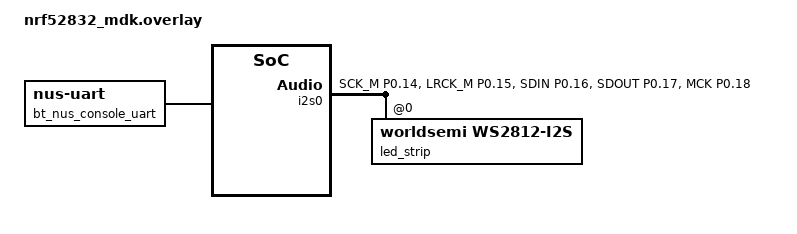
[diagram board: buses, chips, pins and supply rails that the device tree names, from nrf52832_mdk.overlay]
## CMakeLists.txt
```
cmake_minimum_required(VERSION 3.20.0)

find_package(Zephyr REQUIRED HINTS $ENV{ZEPHYR_BASE})
project(zboard)

target_sources(app PRIVATE
        src/zboard.c
        src/led_map.c
        src/led_patterns.c
)
```

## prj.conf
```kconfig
CONFIG_BT=y
CONFIG_BT_MAX_CONN=4
CONFIG_BT_MAX_PAIRED=4
CONFIG_BT_PERIPHERAL=y
CONFIG_BT_ZEPHYR_NUS=y
CONFIG_BT_ZEPHYR_NUS_DEFAULT_INSTANCE=n

# Bluetooth optimizations to allow larger data packets.
CONFIG_BT_RX_STACK_SIZE=2048
CONFIG_BT_L2CAP_TX_MTU=512
CONFIG_BT_BUF_ACL_RX_SIZE=502
CONFIG_BT_BUF_ACL_TX_SIZE=502
CONFIG_BT_CTLR_DATA_LENGTH_MAX=251

CONFIG_BT_DEVICE_NAME="zboard"

CONFIG_UART_BT=y
CONFIG_UART_CONSOLE=y

CONFIG_LED_STRIP=y
CONFIG_LOG=y
CONFIG_LOG_BACKEND_SHOW_COLOR=n
```

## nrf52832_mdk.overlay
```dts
#include <zephyr/dt-bindings/led/led.h>

&i2s0 {
	status = "okay";
	pinctrl-0 = <&i2s0_default>;
	pinctrl-1 = <&i2s0_sleep>;
	pinctrl-names = "default", "sleep";

	led_strip: ws2812-i2s@0 {
		compatible = "worldsemi,ws2812-i2s";
		reg = <0x0>;
		chain-length = <256>;
		status = "okay";
		color-mapping = <LED_COLOR_ID_GREEN
		LED_COLOR_ID_RED
		LED_COLOR_ID_BLUE>;
		reset-delay = <120>;
	};
};

&pinctrl {
	i2s0_default: i2s0_default {
		group1 {
			psels = <NRF_PSEL(I2S_SCK_M, 0, 14)>,
			<NRF_PSEL(I2S_LRCK_M, 0, 15)>,
			<NRF_PSEL(I2S_SDIN, 0, 16)>,
			<NRF_PSEL(I2S_SDOUT, 0, 17)>,
			<NRF_PSEL(I2S_MCK, 0, 18)>;
		};
	};

	i2s0_sleep: i2s0_sleep {
		group1 {
			psels = <NRF_PSEL(I2S_SCK_M, 0, 14)>;
		};
	};
};

/ {
	aliases {
		led-strip = &led_strip;
		zboard-input = &bt_nus_console_uart;
	};
};

/ {
	chosen {
		zephyr,console = &bt_nus_console_uart;
		zephyr,shell-uart = &bt_nus_console_uart;
	};

	bt_nus_console_uart: bt_nus_console_uart {
		compatible = "zephyr,nus-uart";
		rx-fifo-size = <1024>;
		tx-fifo-size = <1024>;
	};
};
```

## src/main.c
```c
#include <stdlib.h>

#include "zboard.h"

#include "led_map.h"
#include "led_patterns.h"

#include <zephyr/bluetooth/bluetooth.h>
#include <zephyr/bluetooth/hci.h>
#include <zephyr/bluetooth/services/nus.h>
#include <zephyr/drivers/uart.h>

#define LOG_LEVEL LOG_LEVEL_INF
LOG_MODULE_REGISTER(main);

#define UART_NODE DT_ALIAS(zboard_input)
#define STRIP_NODE DT_ALIAS(led_strip)

// Problem string structure:
// V1:
//	<holdtype>=[SPE]
//  <holdnum>=[0-9]{1,3}
//  <holdspec>=<holdtype><holdnum>
//  <problem>=~l#<holdspec>(,<holdspec>)*#
// V2:
//	<holdtype>=[SPELRMF]
//  <holdnum>=[0-9]{1,3}
//  <holdspec>=<holdtype><holdnum>
//  <problem>=~[Dl]#<holdspec>(,<holdspec>)*#
// Testing modes:
// t<holdnum>,<holdnum>,<holdnum>#  (applies LED mapping)
// a<holdnum>,<holdnum>,<holdnum>#  (applies LED mapping and lights additional LEDs)
// x<holdnum>,<holdnum>,<holdnum>#  (doesn't apply LED mapping)
// t# or x# 	- clear board
// r			- show random LED pattern from led_patterns.h

struct led_rgb pixels[STRIP_LENGTH];

const struct device *const strip = DEVICE_DT_GET(STRIP_NODE);
static const struct device *const uart_in = DEVICE_DT_GET(UART_NODE);

#define DEVICE_NAME CONFIG_BT_DEVICE_NAME
#define DEVICE_NAME_LEN (sizeof(DEVICE_NAME) - 1)

static const struct bt_data ad[] = {
	BT_DATA_BYTES(BT_DATA_FLAGS, (BT_LE_AD_GENERAL | BT_LE_AD_NO_BREDR)),
	BT_DATA(BT_DATA_NAME_COMPLETE, DEVICE_NAME, DEVICE_NAME_LEN),
};

static const struct bt_data sd[] = {
	BT_DATA_BYTES(BT_DATA_UUID128_ALL, BT_UUID_NUS_SRV_VAL),
};

parse_state_t parse_state = PARSE_START;		  // Current state of the problem string parser
char parseBuffer[PROBLEM_STRING_MAX_LENGTH] = ""; // Problem currently being received
int parseBufferPos = 0;
char strProblem[PROBLEM_STRING_MAX_LENGTH] = "";	   // Complete problem string
char strProblemBackup[PROBLEM_STRING_MAX_LENGTH] = ""; // Copy of complete problem string
bool bProbPending = false;							   // Do we have a problem ready to display?
bool bAdditionalLEDs = false;						   // Additional LED setting
bool bTestMode = false;
bool bApplyLEDMapping = true;

void handleChar(char);

void clearStrip(bool updateStrip)
{
	for (int i = 0; i < STRIP_LENGTH; i++)
	{
		pixels[i] = COLOR_BLACK.rgb;
	}
	if (!updateStrip)
	{
		return;
	}
	led_strip_update_rgb(strip, pixels, STRIP_LENGTH);
}

void handleChar(char c)
{
	LOG_DBG("%s(%c) - state %d", __func__, c, parse_state);
	switch (parse_state)
	{
	case PARSE_START:
		bAdditionalLEDs = false;
		parseBuffer[0] = '\0';
		parseBufferPos = 0;
		switch (c)
		{
		case '~':
			bApplyLEDMapping = true;
			bTestMode = false;
			parse_state = PARSE_CONFIG;
			return;
		case 'L':
		case 'l':
			bApplyLEDMapping = true;
			bTestMode = false;
			parse_state = PARSE_PROB_START;
			return;
		case 't':
		case 'T':
			bApplyLEDMapping = true;
			bTestMode = true;
			parse_state = PARSE_HOLDS;
			return;
		case 'x':
		case 'X':
			bTestMode = true;
			bApplyLEDMapping = false;
			parse_state = PARSE_HOLDS;
			return;
		case 'a':
		case 'A':
			bTestMode = true;
			bApplyLEDMapping = true;
			bAdditionalLEDs = true;
			parse_state = PARSE_HOLDS;
			return;
		case 'r':
		case 'R':
			show_random_pattern();
			return;
		}
		break;
	case PARSE_CONFIG:
		switch (c)
		{
		case 'D':
			bAdditionalLEDs = true;
			parse_state = PARSE_PROB_START;
			return;

		case 'l':
			parse_state = PARSE_PROB_START;
			return;
		}
		break;

	case PARSE_PROB_START:
		if (c == '#')
		{
			parse_state = PARSE_HOLDS;
			return;
		}
		break;

	case PARSE_HOLDS:
		if (c == '#')
		{
			LOG_DBG("Received complete problem");
			parseBuffer[parseBufferPos] = '\0';
			strncpy(strProblem, parseBuffer, sizeof(strProblem));
			bProbPending = true;
			parse_state = PARSE_START;
			return;
		}
		parseBuffer[parseBufferPos++] = c;
		if (parseBufferPos >= sizeof(parseBuffer) - 1)
		{
			LOG_ERR("Problem string overflow");
			parse_state = PARSE_START;
		}
		return;
		break;
	}
}

static void bt_handle_connected(struct bt_conn *conn, uint8_t err)
{
	if (err)
	{
		LOG_ERR("Conn failed, err 0x%02x %s\n", err, bt_hci_err_to_str(err));
	}
	// Restart advertising so that multiple clients can connect
	int rc = bt_le_adv_start(BT_LE_ADV_CONN_FAST_1, ad, ARRAY_SIZE(ad), sd, ARRAY_SIZE(sd));
	if (!err)
	{
		if (rc == -ECONNREFUSED)
		{
			LOG_INF("Conn received, max conns established. Advertising paused.");
		}
		else if (rc)
		{
			LOG_ERR("Conn received. Failed to restart advertising: %d", rc);
		}
		else
		{
			LOG_INF("Connection received. Restarted advertising");
		}
	}
}

static void bt_handle_disconnected(struct bt_conn *conn, uint8_t reason)
{
	LOG_INF("Disconnected, reason 0x%02x %s\n", reason, bt_hci_err_to_str(reason));
}

// A client has dropped and we have a free connection object again, so we can start advertising if we weren't already
static void bt_handle_recycled(void)
{
	int rc = bt_le_adv_start(BT_LE_ADV_CONN_FAST_1, ad, ARRAY_SIZE(ad), sd, ARRAY_SIZE(sd));
	if (rc)
	{
		LOG_ERR("Conn recycled. Failed to restart advertising: %d", rc);
	}
	else
	{
		LOG_INF("Conn recycled. Restarted advertising");
	}
}

static struct bt_conn_cb bt_conn_cb_zboard = {
	.connected = bt_handle_connected,
	.disconnected = bt_handle_disconnected,
	.recycled = bt_handle_recycled};

void renderProblem()
{
	clearStrip(true);
	LOG_INF("Problem string: %s", strProblem);

	strncpy(strProblemBackup, strProblem, sizeof(strProblemBackup) - 1); // store copy of problem string
	strProblemBackup[sizeof(strProblemBackup) - 1] = '\0';

	char *token = strtok(strProblem, ",");
	int ledCount = 0;
	uint16_t ledNum;
	while (token)
	{
		ledCount++;
		char holdType = bTestMode ? 'P' : token[0];			 // Hold descriptions consist of a hold type (S, P, E) (omitted in test mode)...
		int moonNum = atoi(bTestMode ? token : (token + 1)); // ... and a hold number
		uint16_t mapNum = moonNumToMapNum(moonNum);
		ledNum = bApplyLEDMapping ? led_map[mapNum] : moonNum;
		const color_t *led_color = &COLOR_BLACK;
		switch (holdType)
		{
		case 'S':
		case 's':
			led_color = &COLOR_GREEN;
			break;
		case 'R':
		case 'r':
		case 'P':
		case 'p':
			led_color = &COLOR_BLUE;
			break;
		case 'E':
		case 'e':
			led_color = &COLOR_RED;
			break;
		case 'L':
		case 'l':
			led_color = &COLOR_VIOLET;
			break;
		case 'M':
		case 'm':
			led_color = &COLOR_PINK;
			break;
		case 'F':
		case 'f':
			led_color = &COLOR_CYAN;
			break;
		}
		pixels[ledNum] = led_color->rgb;
		LOG_INF("%c%d --> %d (%s)", holdType, moonNum, ledNum, led_color->name);

		if (bAdditionalLEDs)
		{
			if (mapNum % NUM_ROWS != NUM_ROWS - 1) // Not in the top row
			{
				// If we're not using the LED mapping, just get the next LED
				uint16_t ledAboveNum = bApplyLEDMapping ? led_map[mapNum + 1] : ledNum + 1;
				pixels[ledAboveNum] = COLOR_YELLOW.rgb;
				LOG_INF("add. %d", ledAboveNum);
			}
			else
			{
				LOG_DBG("LED %d is in the top row, skipping additional LED", ledNum);
			}
		}
		token = strtok(NULL, ",");
	}
	int err = led_strip_update_rgb(strip, pixels, STRIP_LENGTH);
	if (err)
	{
		LOG_ERR("Failed to update LED strip: %d", err);
	}
	else
	{
		LOG_INF("Rendered problem with %d LEDs", ledCount);
	}
}

void input_cb(const struct device *dev, void *user_data)
{
	uint8_t c;

	if (!uart_irq_update(uart_in))
	{
		return;
	}

	if (!uart_irq_rx_ready(uart_in))
	{
		return;
	}

	/* read until FIFO empty */
	while (uart_fifo_read(uart_in, &c, 1) == 1)
	{
		handleChar(c);
	}
}

int main(void)
{
	initialize_led_map();

	if (device_is_ready(strip))
	{
		LOG_INF("Found LED strip device %s", strip->name);
	}
	else
	{
		LOG_ERR("LED strip device %s is not ready", strip->name);
		return 0;
	}

	int err;

	if (!device_is_ready(uart_in))
	{
		LOG_ERR("UART device not found!");
		return 0;
	}

	// configure interrupt and callback to receive data
	err = uart_irq_callback_set(uart_in, input_cb);

	if (err < 0)
	{
		if (err == -ENOTSUP)
		{
			LOG_ERR("Interrupt-driven UART API support not enabled\n");
		}
		else if (err == -ENOSYS)
		{
			LOG_ERR("UART device does not support interrupt-driven API\n");
		}
		else
		{
			LOG_ERR("Error setting UART callback: %d\n", err);
		}
		return 0;
	}
	uart_irq_rx_enable(uart_in);

	// Enable Bluetooth and start advertising
	err = bt_enable(NULL);
	if (err)
	{
		LOG_ERR("Failed to enable bluetooth: %d", err);
		return err;
	}

	err = bt_conn_cb_register(&bt_conn_cb_zboard);
	if (err)
	{
		LOG_ERR("Failed to register BT conn callback: %d", err);
		return err;
	}

	err = bt_le_adv_start(BT_LE_ADV_CONN_FAST_1, ad, ARRAY_SIZE(ad), sd, ARRAY_SIZE(sd));
	if (err)
	{
		LOG_ERR("Failed to start advertising: %d", err);
		return err;
	}

	LOG_INF("Bluetooth setup complete, advertising as '%s'", DEVICE_NAME);

	led_startup_pattern();
	clearStrip(true);

	char c;
	while (1)
	{
		// Since receiving characters is handled by interrupts ( see input_cb() ), our main loop
		// just checks if we have a problem ready to display and renders it.
		// We do want to parse all characters in the UART receive queue first though.
		if (bProbPending)
		{
			err = uart_poll_in(uart_in, &c);
			if (err == -1)
			{
				renderProblem();
				bProbPending = false;
				strProblem[0] = '\0';
			}
			else if (err == 0)
			{
				handleChar(c);
			}
			else
			{
				LOG_ERR("Error polling UART: %d", err);
			}
		}

		k_sleep(K_MSEC(100));
	}

	return 0;
}
```

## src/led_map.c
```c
#include "led_map.h"

#define LOG_LEVEL LOG_LEVEL_INF
LOG_MODULE_REGISTER(led_map);

uint16_t led_map[NUM_PIXELS];

#ifdef WIRING_LEDS_SKIP_FIRST_COLUMN
uint8_t ledSkipList[] = {WIRING_LEDS_SKIP_FIRST_COLUMN};
#else
uint8_t ledSkipList[] = {};
#endif

uint8_t ledSkipNum = sizeof(ledSkipList) / sizeof(ledSkipList[0]);

#ifdef WIRING_FIRST_LED_RIGHT
bool bWiringFirstLEDRight = true;
#else
bool bWiringFirstLEDRight = false;
#endif

#ifdef WIRING_FIRST_LED_BOTTOM
bool bWiringFirstLEDBottom = true;
#else
bool bWiringFirstLEDBottom = false;
#endif

bool ledSkip(uint16_t ledNum)
{
	if (sizeof(ledSkipList) == 0)
	{
		return false;
	}
	for (size_t i = 0; i < ledSkipNum; i++)
	{
		if (ledNum == ledSkipList[i])
		{
			return true;
		}
	}
	return false;
}

uint16_t moonNumToMapNum(uint16_t moonNum)
{
	int iFullCols = moonNum / NUM_ROWS;
	int iLEDsRemaining = moonNum % NUM_ROWS;
	// We get passed the number of the LED in the standard wiring, which has LED #0 at the bottom-left
	// Our LED map has the columns in sequence, with every column numbered from bottom to top
	// If the LED is in an even column (0-indexed), the numbers will be the same.
	// If the LED is in an odd column (0-indexed), the numbers will be reversed since the wiring goes down the next column
	if (iFullCols % 2 == 0)
	{
		return moonNum;
	}
	else
	{
		return (iFullCols * NUM_ROWS) + (NUM_ROWS - 1 - iLEDsRemaining);
	}
}

#ifndef WIRING_CUSTOM
void initialize_led_map()
{
	bool bWiringGoesDownThisCol = !bWiringFirstLEDBottom;
	uint8_t ledsInCol = NUM_ROWS + ledSkipNum; // number of LEDs in each column including skipped LEDs

	uint16_t ledNum = 0;
	int col = bWiringFirstLEDRight ? (NUM_COLS - 1) : 0;   // current column we are filling in the LED map
	int row = bWiringGoesDownThisCol ? (NUM_ROWS - 1) : 0; // current row we are filling in the LED map
	while (col < NUM_COLS && col >= 0)
	{
		while (row < NUM_ROWS && row >= 0)
		{
			// Figure out where to save this LED number in the map
			led_map[col * NUM_ROWS + row] = ledNum;
			row += bWiringGoesDownThisCol ? -1 : 1;
			// Move to the next LED in the chain, skipping any LEDs that need to be skipped
			ledNum++;
			uint8_t ledNumInChunk = ledNum % (2 * ledsInCol);
			// The first clause is for columns 1,3,5, etc. , second clause is for columns 2,4,6, etc. since the wiring goes down one column and up the next
			while ((ledNumInChunk < ledsInCol && ledSkip(ledNumInChunk)) || (ledNumInChunk > ledsInCol && ledSkip(2 * ledsInCol - 1 - ledNumInChunk)))
			{
				ledNum++;
				ledNumInChunk = ledNum % (2 * ledsInCol);
			}
		}
		col += bWiringFirstLEDRight ? -1 : 1;
		if (row == NUM_ROWS)
		{
			row = NUM_ROWS - 1;
		}
		else if (row == -1)
		{
			row = 0;
		}
		bWiringGoesDownThisCol = !bWiringGoesDownThisCol;
	}
}
#else
void initialize_led_map()
{
	// If you want to define your own wiring configuration, you can do that here
	// The led_map[x*numRows + y] array needs to contain the LED number that should be used for the
	// hold at row x, column y. Rows are number L-to-R and columns are numbered from the bottom up.
}
#endif
```

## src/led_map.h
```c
#ifndef _LED_MAP_H
#define _LED_MAP_H

#include <zephyr/logging/log.h>

// Wiring must be zig-zag fashion up and down the columns.
// By default, we have the first LED at the top of the first column, and the columns go left to right
// Uncommenting the following defines can modify this
#define WIRING_FIRST_LED_RIGHT // Columns goes right to left instead
// #define WIRING_FIRST_LED_BOTTOM			// First LED is at the bottom of the first column instead of the top

// If some LEDs need to be skipped because there is a beam or other obstruction that you need to go around/over,
// you can control that here. You need to specify the LED numbers that will be skipped in the first column and the code
// will assume the other columns are identical.
// For example, if you have a beam between the 6th and 7th row, and another between the 12th and 13th row, and you need
// to skip 2 LEDs for each beam, you'd specify 6,7,14,15 so that LEDs 0-5, 8-13, 16-21 are used for the first column
// #define WIRING_LEDS_SKIP_FIRST_COLUMN 6,7,14,15

// If you want to define your own wiring configuration, you need to unccmment the following line and implement initialize_led_map()
// in led_map.c
// #define WIRING_CUSTOM

#include <stdbool.h>
#include <stddef.h>
#include <stdint.h>

#define NUM_ROWS 18
#define NUM_COLS 11
#define NUM_PIXELS NUM_ROWS *NUM_COLS

#define LED_MAP_COL_ROW(col, row) (led_map[(col) * NUM_ROWS + (row)])

extern uint16_t led_map[NUM_PIXELS];

bool ledSkip(uint16_t);
void initialize_led_map();
uint16_t moonNumToMapNum(uint16_t moonNum);

#endif // _LED_MAP_H
```

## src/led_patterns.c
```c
#include "led_patterns.h"

#define LOG_LEVEL LOG_LEVEL_INF
LOG_MODULE_REGISTER(led_patterns);

led_pattern_fn_t led_patterns[] = {
    left_to_right_pattern,
    right_to_left_pattern,
    top_to_bottom_pattern,
    bottom_to_top_pattern,
    twinkle_pattern,
};

#define NUM_LED_PATTERNS (sizeof(led_patterns) / sizeof(led_patterns[0]))

void led_startup_pattern(void)
{
    for (int c = 0; c < 40; c++) // flash all LEDs in sequence to show we're alive and have Bluetooth working
    {
        for (int r = 0; r < NUM_ROWS; r++)
        {
            LED_SET_ROW(r, color_list[(r + c) % 8]);
        }
        int err = led_strip_update_rgb(strip, pixels, STRIP_LENGTH);
        if (err)
        {
            LOG_ERR("Failed to update LED strip: %d", err);
            return;
        }
        k_sleep(K_MSEC(PATTERN_STEP_DELAY_MS));
    }
}

void left_to_right_pattern(void)
{
    for (int c = 0; c < NUM_COLS; c++)
    {
        clearStrip(false);
        for (int r = 0; r < NUM_ROWS; r++)
        {
            LED_SET_PIXEL(c, r, color_list[r % NUM_COLORS]);
        }
        int err = led_strip_update_rgb(strip, pixels, STRIP_LENGTH);
        if (err)
        {
            LOG_ERR("Failed to update LED strip: %d", err);
            return;
        }
        k_sleep(K_MSEC(PATTERN_STEP_DELAY_MS));
    }
}

void right_to_left_pattern(void)
{
    for (int c = NUM_COLS - 1; c >= 0; c--)
    {
        clearStrip(false);
        for (int r = 0; r < NUM_ROWS; r++)
        {
            LED_SET_PIXEL(c, r, color_list[r % NUM_COLORS]);
        }
        int err = led_strip_update_rgb(strip, pixels, STRIP_LENGTH);
        if (err)
        {
            LOG_ERR("Failed to update LED strip: %d", err);
            return;
        }
        k_sleep(K_MSEC(PATTERN_STEP_DELAY_MS));
    }
}

void top_to_bottom_pattern(void)
{
    for (int r = NUM_ROWS - 1; r >= 0; r--)
    {
        clearStrip(false);
        for (int c = 0; c < NUM_COLS; c++)
        {
            LED_SET_PIXEL(c, r, color_list[c % NUM_COLORS]);
        }
        int err = led_strip_update_rgb(strip, pixels, STRIP_LENGTH);
        if (err)
        {
            LOG_ERR("Failed to update LED strip: %d", err);
            return;
        }
        k_sleep(K_MSEC(PATTERN_STEP_DELAY_MS));
    }
}

void bottom_to_top_pattern(void)
{
    for (int r = 0; r < NUM_ROWS; r++)
    {
        clearStrip(false);
        for (int c = 0; c < NUM_COLS; c++)
        {
            LED_SET_PIXEL(c, r, color_list[c % NUM_COLORS]);
        }
        int err = led_strip_update_rgb(strip, pixels, STRIP_LENGTH);
        if (err)
        {
            LOG_ERR("Failed to update LED strip: %d", err);
            return;
        }
        k_sleep(K_MSEC(PATTERN_STEP_DELAY_MS));
    }
}

void twinkle_pattern(void)
{
    for (int i = 0; i < 20; i++)
    {
        int c = rand() % NUM_COLS;
        int r = rand() % NUM_ROWS;
        clearStrip(false);
        LED_SET_PIXEL(c, r, color_list[(c + r) % NUM_COLORS]);
        int err = led_strip_update_rgb(strip, pixels, STRIP_LENGTH);
        if (err)
        {
            LOG_ERR("Failed to update LED strip: %d", err);
            return;
        }
        k_sleep(K_MSEC(PATTERN_STEP_DELAY_MS));
    }
}

void show_random_pattern(struct k_work *work)
{
    int pattern_index = rand() % NUM_LED_PATTERNS;
    led_patterns[pattern_index]();
    clearStrip(true);
}
```

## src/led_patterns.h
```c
#include "zboard.h"

#include <stdlib.h>

#define PATTERN_STEP_DELAY_MS 50

typedef void (*led_pattern_fn_t)(void);

void led_startup_pattern(void);
void left_to_right_pattern(void);
void right_to_left_pattern(void);
void top_to_bottom_pattern(void);
void bottom_to_top_pattern(void);
void twinkle_pattern(void);

void show_random_pattern(struct k_work *work);
```

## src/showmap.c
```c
#include <stdint.h>
#include <stdio.h>
#include <stdlib.h>

#include "led_map.h"

// Utility for inspecting LED maps
// Usage: ./showmap			- prints the whole map
//        ./showmap A5 B10	- prints the LED numbers for those holds

int main(int argc, char *argv[])
{
    initialize_led_map();

    if (argc == 1)
    {
        printf("Printing zboard LED map:\n\n");
        for (int i = (NUM_COLS - 1); i >= 0; i--)
        {
            int z = i * NUM_ROWS;
            printf("%3c: %4d %4d %4d %4d %4d %4d %4d %4d %4d %4d %4d %4d %4d %4d %4d %4d %4d %4d\n", 'A' + i,
                   led_map[z + 17], led_map[z + 16], led_map[z + 15], led_map[z + 14], led_map[z + 13], led_map[z + 12], led_map[z + 11], led_map[z + 10], led_map[z + 9],
                   led_map[z + 8], led_map[z + 7], led_map[z + 6], led_map[z + 5], led_map[z + 4], led_map[z + 3], led_map[z + 2], led_map[z + 1], led_map[z]);
        }
        printf("   |\n   |---18---17---16---15---14---13---12---11---10---9----8----7----6----5----4----3----2----1--|\n");
        return 0;
    }

    for (int i = 1; i < argc; i++) {
        if (argv[i][0] < 'A' || argv[i][0] > 'A' + NUM_COLS - 1) {
            printf("Invalid column %c\n", argv[i][0]);
            continue;
        }
        int col = argv[i][0] - 'A';
        int row = atoi(&(argv[i][1]))-1; // Subtract 1 since the rows are 1-indexed in the input but 0-indexed in the code
        if (row == 0) {
            printf("Invalid row %s\n", &(argv[i][1]));
            continue;
        }
        printf("Hold at %-3s is LED number %4d\n", argv[i], led_map[col * NUM_ROWS + row]);
    }

    return 0;
}
```

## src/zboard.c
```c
#include <stdlib.h>

#include "zboard.h"

#include "led_map.h"
#include "led_patterns.h"

#include <zephyr/bluetooth/bluetooth.h>
#include <zephyr/bluetooth/hci.h>
#include <zephyr/bluetooth/services/nus.h>
#include <zephyr/drivers/uart.h>

#define LOG_LEVEL LOG_LEVEL_INF
LOG_MODULE_REGISTER(zboard);

#define UART_NODE DT_ALIAS(zboard_input)
#define STRIP_NODE DT_ALIAS(led_strip)

// Problem string structure:
// V1:
//	<holdtype>=[SPE]
//  <holdnum>=[0-9]{1,3}
//  <holdspec>=<holdtype><holdnum>
//  <problem>=~l#<holdspec>(,<holdspec>)*#
// V2:
//	<holdtype>=[SPELRMF]
//  <holdnum>=[0-9]{1,3}
//  <holdspec>=<holdtype><holdnum>
//  <problem>=~[Dl]#<holdspec>(,<holdspec>)*#
// Testing modes:
// t<holdnum>,<holdnum>,<holdnum>#  (applies LED mapping)
// a<holdnum>,<holdnum>,<holdnum>#  (applies LED mapping and lights additional LEDs)
// x<holdnum>,<holdnum>,<holdnum>#  (doesn't apply LED mapping)
// t# or x# 	- clear board
// r			- show random LED pattern from led_patterns.h

struct led_rgb pixels[STRIP_LENGTH];

const struct device *const strip = DEVICE_DT_GET(STRIP_NODE);
static const struct device *const uart_in = DEVICE_DT_GET(UART_NODE);

#define DEVICE_NAME CONFIG_BT_DEVICE_NAME
#define DEVICE_NAME_LEN (sizeof(DEVICE_NAME) - 1)

static const struct bt_data ad[] = {
	BT_DATA_BYTES(BT_DATA_FLAGS, (BT_LE_AD_GENERAL | BT_LE_AD_NO_BREDR)),
	BT_DATA(BT_DATA_NAME_COMPLETE, DEVICE_NAME, DEVICE_NAME_LEN),
};

static const struct bt_data sd[] = {
	BT_DATA_BYTES(BT_DATA_UUID128_ALL, BT_UUID_NUS_SRV_VAL),
};

struct k_work drainUARTWork;
struct k_work randomPatternWork;
struct k_work renderProblemWork;

parse_state_t parse_state = PARSE_START;		  // Current state of the problem string parser
char parseBuffer[PROBLEM_STRING_MAX_LENGTH] = ""; // Problem currently being received
int parseBufferPos = 0;
char strProblem[PROBLEM_STRING_MAX_LENGTH] = "";	   // Complete problem string
char strProblemBackup[PROBLEM_STRING_MAX_LENGTH] = ""; // Copy of complete problem string
bool bProbPending = false;							   // Do we have a problem ready to display?
bool bAdditionalLEDs = false;						   // Additional LED setting
bool bTestMode = false;
bool bApplyLEDMapping = true;

void handleChar(char);

void clearStrip(bool updateStrip)
{
	for (int i = 0; i < STRIP_LENGTH; i++)
	{
		pixels[i] = COLOR_BLACK.rgb;
	}
	if (!updateStrip)
	{
		return;
	}
	led_strip_update_rgb(strip, pixels, STRIP_LENGTH);
}

void handleChar(char c)
{
	LOG_DBG("%s(%c) - state %d", __func__, c, parse_state);
	switch (parse_state)
	{
	case PARSE_START:
		bAdditionalLEDs = false;
		parseBuffer[0] = '\0';
		parseBufferPos = 0;
		switch (c)
		{
		case '~':
			bApplyLEDMapping = true;
			bTestMode = false;
			parse_state = PARSE_CONFIG;
			return;
		case 'L':
		case 'l':
			bApplyLEDMapping = true;
			bTestMode = false;
			parse_state = PARSE_PROB_START;
			return;
		case 't':
		case 'T':
			bApplyLEDMapping = true;
			bTestMode = true;
			parse_state = PARSE_HOLDS;
			return;
		case 'x':
		case 'X':
			bTestMode = true;
			bApplyLEDMapping = false;
			parse_state = PARSE_HOLDS;
			return;
		case 'a':
		case 'A':
			bTestMode = true;
			bApplyLEDMapping = true;
			bAdditionalLEDs = true;
			parse_state = PARSE_HOLDS;
			return;
		case 'r':
		case 'R':
			k_work_submit(&randomPatternWork);
			return;
		}
		break;
	case PARSE_CONFIG:
		switch (c)
		{
		case 'D':
			bAdditionalLEDs = true;
			parse_state = PARSE_PROB_START;
			return;

		case 'l':
			parse_state = PARSE_PROB_START;
			return;
		}
		break;

	case PARSE_PROB_START:
		if (c == '#')
		{
			parse_state = PARSE_HOLDS;
			return;
		}
		break;

	case PARSE_HOLDS:
		if (c == '#')
		{
			LOG_DBG("Received complete problem");
			parseBuffer[parseBufferPos] = '\0';
			strncpy(strProblem, parseBuffer, sizeof(strProblem));
			k_work_submit(&renderProblemWork);
			bProbPending = true;
			parse_state = PARSE_START;
			return;
		}
		parseBuffer[parseBufferPos++] = c;
		if (parseBufferPos >= sizeof(parseBuffer) - 1)
		{
			LOG_ERR("Problem string overflow");
			parse_state = PARSE_START;
		}
		return;
		break;
	}
}

static void bt_handle_connected(struct bt_conn *conn, uint8_t err)
{
	if (err)
	{
		LOG_ERR("Conn failed, err 0x%02x %s\n", err, bt_hci_err_to_str(err));
	}
	// Restart advertising so that multiple clients can connect
	int rc = bt_le_adv_start(BT_LE_ADV_CONN_FAST_1, ad, ARRAY_SIZE(ad), sd, ARRAY_SIZE(sd));
	if (!err)
	{
		if (rc == -ECONNREFUSED)
		{
			LOG_INF("Conn received, max conns established. Advertising paused.");
		}
		else if (rc)
		{
			LOG_ERR("Conn received. Failed to restart advertising: %d", rc);
		}
		else
		{
			LOG_INF("Connection received. Restarted advertising");
		}
	}
}

static void bt_handle_disconnected(struct bt_conn *conn, uint8_t reason)
{
	LOG_INF("Disconnected, reason 0x%02x %s\n", reason, bt_hci_err_to_str(reason));
}

// A client has dropped and we have a free connection object again, so we can start advertising if we weren't already
static void bt_handle_recycled(void)
{
	int rc = bt_le_adv_start(BT_LE_ADV_CONN_FAST_1, ad, ARRAY_SIZE(ad), sd, ARRAY_SIZE(sd));
	if (rc)
	{
		LOG_ERR("Conn recycled. Failed to restart advertising: %d", rc);
	}
	else
	{
		LOG_INF("Conn recycled. Restarted advertising");
	}
}

static struct bt_conn_cb bt_conn_cb_zboard = {
	.connected = bt_handle_connected,
	.disconnected = bt_handle_disconnected,
	.recycled = bt_handle_recycled};

void renderProblem(struct k_work *work)
{
	clearStrip(true);
	LOG_INF("Problem string: %s", strProblem);

	strncpy(strProblemBackup, strProblem, sizeof(strProblemBackup) - 1); // store copy of problem string
	strProblemBackup[sizeof(strProblemBackup) - 1] = '\0';

	char *token = strtok(strProblem, ",");
	int ledCount = 0;
	uint16_t ledNum;
	while (token)
	{
		ledCount++;
		char holdType = bTestMode ? 'P' : token[0];			 // Hold descriptions consist of a hold type (S, P, E) (omitted in test mode)...
		int moonNum = atoi(bTestMode ? token : (token + 1)); // ... and a hold number
		uint16_t mapNum = moonNumToMapNum(moonNum);
		ledNum = bApplyLEDMapping ? led_map[mapNum] : moonNum;
		const color_t *led_color = &COLOR_BLACK;
		switch (holdType)
		{
		case 'S':
		case 's':
			led_color = &COLOR_GREEN;
			break;
		case 'R':
		case 'r':
		case 'P':
		case 'p':
			led_color = &COLOR_BLUE;
			break;
		case 'E':
		case 'e':
			led_color = &COLOR_RED;
			break;
		case 'L':
		case 'l':
			led_color = &COLOR_VIOLET;
			break;
		case 'M':
		case 'm':
			led_color = &COLOR_PINK;
			break;
		case 'F':
		case 'f':
			led_color = &COLOR_CYAN;
			break;
		}
		pixels[ledNum] = led_color->rgb;
		LOG_INF("%c%d --> %d (%s)", holdType, moonNum, ledNum, led_color->name);

		if (bAdditionalLEDs)
		{
			if (mapNum % NUM_ROWS != NUM_ROWS - 1) // Not in the top row
			{
				// If we're not using the LED mapping, just get the next LED
				uint16_t ledAboveNum = bApplyLEDMapping ? led_map[mapNum + 1] : ledNum + 1;
				pixels[ledAboveNum] = COLOR_YELLOW.rgb;
				LOG_INF("add. %d", ledAboveNum);
			}
			else
			{
				LOG_DBG("LED %d is in the top row, skipping additional LED", ledNum);
			}
		}
		token = strtok(NULL, ",");
	}
	int err = led_strip_update_rgb(strip, pixels, STRIP_LENGTH);
	if (err)
	{
		LOG_ERR("Failed to update LED strip: %d", err);
	}
	else
	{
		LOG_INF("Rendered problem with %d LEDs", ledCount);
	}
	bProbPending = false;
}

void input_cb(const struct device *dev, void *user_data)
{
	if (!uart_irq_update(uart_in))
	{
		return;
	}

	if (!uart_irq_rx_ready(uart_in))
	{
		return;
	}

	k_work_submit(&drainUARTWork);
}

void drainUART(struct k_work *work)
{
	uint8_t c;
	/* read until FIFO empty */
	while (uart_fifo_read(uart_in, &c, 1) == 1)
	{
		handleChar(c);
	}
}

int main(void)
{
	k_work_init(&drainUARTWork, drainUART);
	k_work_init(&randomPatternWork, show_random_pattern);
	k_work_init(&renderProblemWork, renderProblem);

	initialize_led_map();

	if (device_is_ready(strip))
	{
		LOG_INF("Found LED strip device %s", strip->name);
	}
	else
	{
		LOG_ERR("LED strip device %s is not ready", strip->name);
		return 0;
	}

	int err;

	if (!device_is_ready(uart_in))
	{
		LOG_ERR("UART device not found!");
		return 0;
	}

	// configure interrupt and callback to receive data
	err = uart_irq_callback_set(uart_in, input_cb);

	if (err < 0)
	{
		if (err == -ENOTSUP)
		{
			LOG_ERR("Interrupt-driven UART API support not enabled\n");
		}
		else if (err == -ENOSYS)
		{
			LOG_ERR("UART device does not support interrupt-driven API\n");
		}
		else
		{
			LOG_ERR("Error setting UART callback: %d\n", err);
		}
		return 0;
	}
	uart_irq_rx_enable(uart_in);

	// Enable Bluetooth and start advertising
	err = bt_enable(NULL);
	if (err)
	{
		LOG_ERR("Failed to enable bluetooth: %d", err);
		return err;
	}

	err = bt_conn_cb_register(&bt_conn_cb_zboard);
	if (err)
	{
		LOG_ERR("Failed to register BT conn callback: %d", err);
		return err;
	}

	err = bt_le_adv_start(BT_LE_ADV_CONN_FAST_1, ad, ARRAY_SIZE(ad), sd, ARRAY_SIZE(sd));
	if (err)
	{
		LOG_ERR("Failed to start advertising: %d", err);
		return err;
	}

	LOG_INF("Bluetooth setup complete, advertising as '%s'", DEVICE_NAME);

	led_startup_pattern();
	clearStrip(true);

	while (1)
	{
		// Since receiving characters is handled by interrupts ( see input_cb() ), and
		// task scheduling is handled by the kernel, we just need to sleep and let the system work.
		k_sleep(K_MSEC(100));
	}

	return 0;
}
```

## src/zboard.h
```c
#ifndef _ZBOARD_H
#define _ZBOARD_H

#include <zephyr/device.h>
#include <zephyr/kernel.h>
#include <zephyr/drivers/led_strip.h>
#include <zephyr/logging/log.h>

// These #defines must occur before including led_map.h since they control the wiring configuration that the LED mapping code needs to know about

// Wiring must be zig-zag fashion up and down the columns.
// By default, we have the first LED at the top of the first column, and the columns go left to right
// The following defines can modify this
#define WIRING_FIRST_LED_RIGHT // Columns goes right to left instead
// #define WIRING_FIRST_LED_BOTTOM		1	// First LED is at the bottom of the first column instead of the top
//  If some LEDs need to be skipped because there is a beam or other obstruction that you need to go around/over,
//  you can control that here.You need to specify the LED numbers that will be skipped in the first column and the code
//  will assume the other columns are identical.
//  For example, if you have a beam between the 6th and 7th row, and another between the 12th and 13th row, and you need
//  to skip 2 LEDs for each beam, you'd specify 6,7,14,15 so that LEDs 0-5, 8-13, 16-21 are used for the first column
#define WIRING_LEDS_SKIP_FIRST_COLUMN 6, 7, 14, 15

#include "led_map.h"

#if DT_NODE_HAS_PROP(DT_ALIAS(led_strip), chain_length)
#define STRIP_LENGTH DT_PROP(DT_ALIAS(led_strip), chain_length)
#else
#error Unable to determine length of LED strip
#endif

#define LED_BRIGHTNESS 64
#define PROBLEM_STRING_MAX_LENGTH 256

#define RGB(_r, _g, _b) {.r = (_r), .g = (_g), .b = (_b)}
#define COLOR(_r, _g, _b, _name) {.rgb = RGB((_r), (_g), (_b)), .name = (_name)}

#define LED_SET_PIXEL(col, row, color) pixels[LED_MAP_COL_ROW((col), (row))] = (color).rgb;

#define LED_SET_ROW(row, color)              \
    for (int __i = 0; __i < NUM_COLS; __i++) LED_SET_PIXEL(__i, row, color)

#define LED_SET_COL(col, color)              \
    for (int __i = 0; __i < NUM_ROWS; __i++) LED_SET_PIXEL(col, __i, color)

typedef struct colorType
{
    struct led_rgb rgb;
    const char *name;
} color_t;

typedef enum parseState
{
    PARSE_START,
    PARSE_CONFIG,
    PARSE_PROB_START,
    PARSE_HOLDS
} parse_state_t;

extern struct led_rgb pixels[STRIP_LENGTH];
extern const struct device *const strip;

static const color_t color_list[] = {
    COLOR(LED_BRIGHTNESS, 0x00, 0x00, "red"),
    COLOR(0x00, LED_BRIGHTNESS, 0x00, "green"),
    COLOR(0x00, 0x00, LED_BRIGHTNESS, "blue"),
    COLOR(LED_BRIGHTNESS, LED_BRIGHTNESS, 0x00, "yellow"),
    COLOR(0x00, LED_BRIGHTNESS, LED_BRIGHTNESS, "cyan"),
    COLOR(LED_BRIGHTNESS, 0x00, LED_BRIGHTNESS / 2, "pink"),
    COLOR(LED_BRIGHTNESS / 2, 0x00, LED_BRIGHTNESS, "violet"),
    COLOR(LED_BRIGHTNESS, LED_BRIGHTNESS, LED_BRIGHTNESS, "white"),
    COLOR(0x00, 0x00, 0x00, "black"),
};

#define NUM_COLORS (sizeof(color_list) / sizeof(color_list[0]))

#define COLOR_RED color_list[0]
#define COLOR_GREEN color_list[1]
#define COLOR_BLUE color_list[2]
#define COLOR_YELLOW color_list[3]
#define COLOR_CYAN color_list[4]
#define COLOR_PINK color_list[5]
#define COLOR_VIOLET color_list[6]
#define COLOR_WHITE color_list[7]
#define COLOR_BLACK color_list[8]

void clearStrip(bool updateStrip);

#endif // _ZBOARD_H
```
